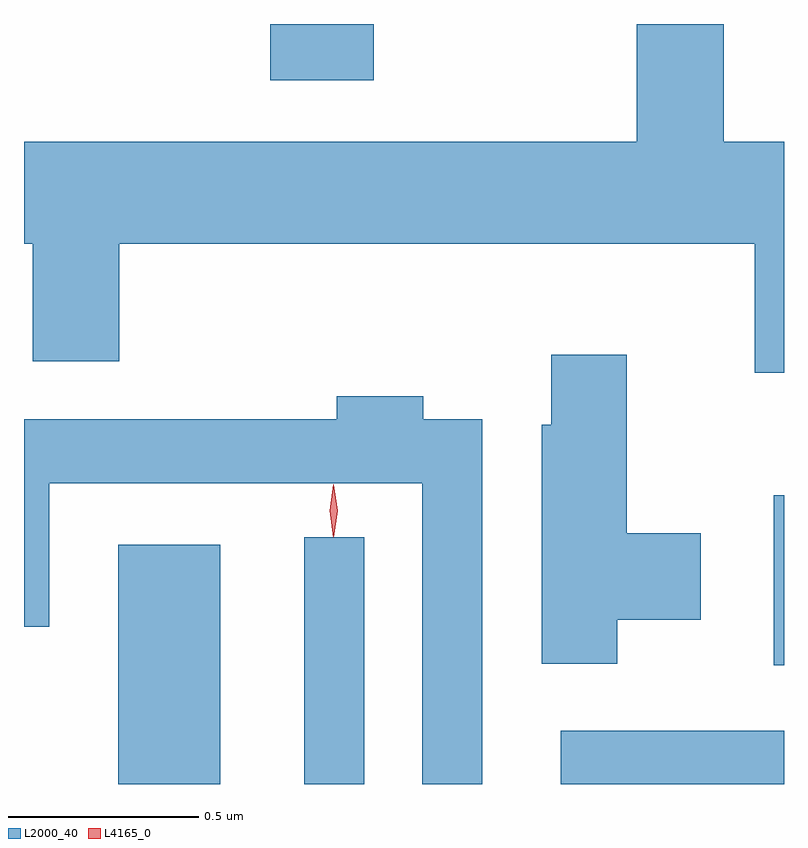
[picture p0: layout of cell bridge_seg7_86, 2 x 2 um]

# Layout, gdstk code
import gdstk
lib = gdstk.Library(unit=1e-6, precision=1e-09)
def R(c, l, rs):  # rectangles x0, y0, x1, y1
    for r in rs: c.add(gdstk.rectangle(r[:2], r[2:], *l))
def P(c, l, *ps):  # polygons
    for p in ps: c.add(gdstk.Polygon(p, *l))
L2000_40 = (2000, 40)
L4165_0 = (4165, 0)

bridge_seg7_86 = lib.new_cell('bridge_seg7_86')
R(bridge_seg7_86, L2000_40, [(1629.776,1786.154,1630.044,1786.784), (1630.266,1786.154,1630.424,1786.803), (1630.941,1786.154,1631.528,1786.294), (1631.501,1786.466,1631.528,1786.914), (1630.176,1788.006,1630.449,1788.154)])
P(bridge_seg7_86, L2000_40, [(1629.528,1787.576),(1629.551,1787.576),(1629.551,1787.266),(1629.779,1787.266),(1629.779,1787.576),(1631.451,1787.576),(1631.451,1787.236),(1631.528,1787.236),(1631.528,1787.844),(1631.369,1787.844),(1631.369,1788.154),(1631.141,1788.154),(1631.141,1787.844),(1629.528,1787.844)],
  [(1631.089,1786.586),(1631.309,1786.586),(1631.309,1786.814),(1631.114,1786.814),(1631.114,1787.284),(1630.916,1787.284),(1630.916,1787.099),(1630.891,1787.099),(1630.891,1786.471),(1631.089,1786.471)],
  [(1630.734,1787.114),(1630.579,1787.114),(1630.579,1787.174),(1630.351,1787.174),(1630.351,1787.114),(1629.528,1787.114),(1629.528,1786.568),(1629.594,1786.568),(1629.594,1786.946),(1630.576,1786.946),(1630.576,1786.154),(1630.734,1786.154)])
P(bridge_seg7_86, L4165_0, [(1630.343,1786.803),(1630.342,1786.804),(1630.333,1786.873),(1630.342,1786.942),(1630.343,1786.943),(1630.343,1786.942),(1630.353,1786.873),(1630.343,1786.804)])

lib.write_gds('bridge_seg7_86.gds')
